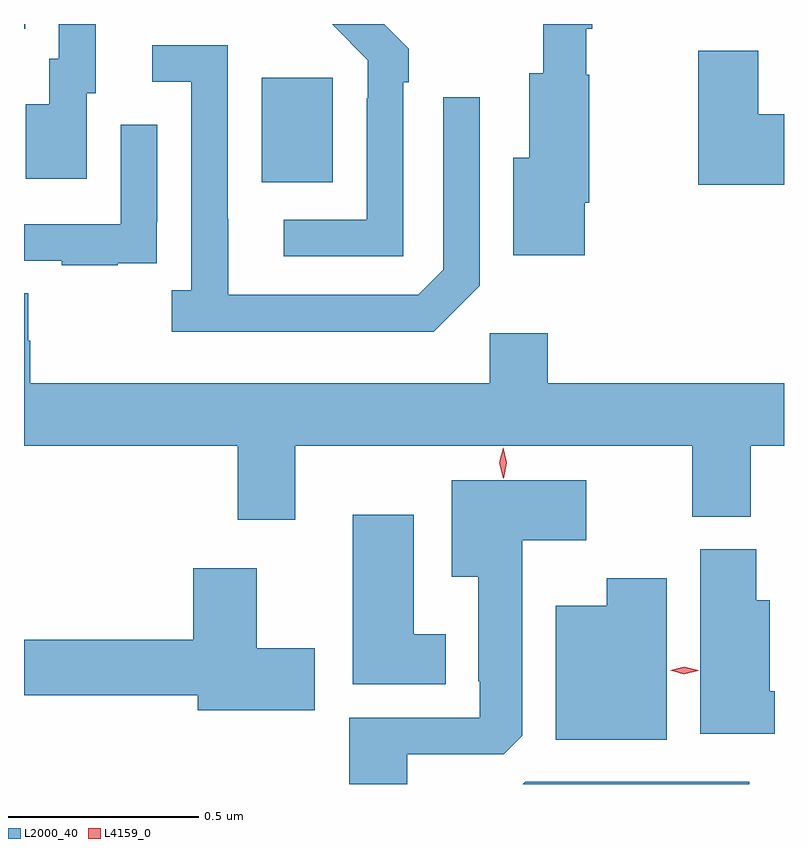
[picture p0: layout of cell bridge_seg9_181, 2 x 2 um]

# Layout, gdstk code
import gdstk
lib = gdstk.Library(unit=1e-6, precision=1e-09)
def R(c, l, rs):  # rectangles x0, y0, x1, y1
    for r in rs: c.add(gdstk.rectangle(r[:2], r[2:], *l))
def P(c, l, *ps):  # polygons
    for p in ps: c.add(gdstk.Polygon(p, *l))
L2000_40 = (2000, 40)
L4159_0 = (4159, 0)

bridge_seg9_181 = lib.new_cell('bridge_seg9_181')
R(bridge_seg9_181, L2000_40, [(149.321,1245.065,149.509,1245.34), (148.696,1245.469,148.699,1245.482)])
P(bridge_seg9_181, L2000_40, [(150.172,1245.012),(150.184,1245.012),(150.184,1245.348),(150.176,1245.348),(150.176,1245.47),(150.191,1245.47),(150.191,1245.482),(150.063,1245.482),(150.063,1245.352),(150.026,1245.352),(150.026,1245.13),(149.984,1245.13),(149.984,1244.873),(150.172,1244.873)],
  [(148.861,1245.3),(148.885,1245.3),(148.885,1245.482),(148.788,1245.482),(148.788,1245.39),(148.763,1245.39),(148.763,1245.271),(148.7,1245.271),(148.7,1245.075),(148.861,1245.075)],
  [(149.694,1245.329),(149.709,1245.329),(149.709,1245.417),(149.644,1245.482),(149.507,1245.482),(149.601,1245.387),(149.601,1245.287),(149.598,1245.287),(149.598,1244.967),(149.379,1244.967),(149.379,1244.871),(149.694,1244.871)],
  [(149.895,1244.793),(149.895,1245.289),(149.799,1245.289),(149.799,1244.835),(149.733,1244.769),(149.233,1244.769),(149.233,1244.969),(149.232,1244.969),(149.232,1245.426),(149.034,1245.426),(149.034,1245.33),(149.136,1245.33),(149.136,1244.782),(149.085,1244.782),(149.085,1244.672),(149.774,1244.672)],
  [(150.696,1245.244),(150.628,1245.244),(150.628,1245.412),(150.47,1245.412),(150.47,1245.059),(150.696,1245.059)],
  [(148.943,1244.853),(149.045,1244.853),(149.045,1244.962),(149.046,1244.962),(149.046,1245.217),(148.95,1245.217),(148.95,1244.955),(148.696,1244.955),(148.696,1244.859),(148.795,1244.859),(148.795,1244.847),(148.943,1244.847)],
  [(149.41,1244.372),(150.455,1244.372),(150.455,1244.185),(150.608,1244.185),(150.608,1244.372),(150.696,1244.372),(150.696,1244.536),(150.074,1244.536),(150.074,1244.668),(149.922,1244.668),(149.922,1244.536),(148.712,1244.536),(148.712,1244.649),(148.707,1244.649),(148.707,1244.774),(148.696,1244.774),(148.696,1244.372),(149.258,1244.372),(149.258,1244.178),(149.41,1244.178)],
  [(149.704,1243.56),(149.958,1243.56),(150.007,1243.609),(150.007,1244.123),(150.175,1244.123),(150.175,1244.281),(149.822,1244.281),(149.822,1244.027),(149.891,1244.027),(149.891,1243.753),(149.895,1243.753),(149.895,1243.656),(149.552,1243.656),(149.552,1243.482),(149.704,1243.482)],
  [(149.806,1243.876),(149.722,1243.876),(149.722,1244.191),(149.561,1244.191),(149.561,1243.745),(149.806,1243.745)],
  [(150.671,1243.726),(150.658,1243.726),(150.658,1243.966),(150.623,1243.966),(150.623,1244.1),(150.476,1244.1),(150.476,1243.614),(150.671,1243.614)],
  [(149.461,1243.839),(149.308,1243.839),(149.308,1244.05),(149.141,1244.05),(149.141,1243.862),(148.696,1243.862),(148.696,1243.715),(149.153,1243.715),(149.153,1243.676),(149.461,1243.676)],
  [(150.388,1244.023),(150.23,1244.023),(150.23,1243.951),(150.095,1243.951),(150.095,1243.598),(150.388,1243.598)],
  [(150.604,1243.488),(150.015,1243.488),(150.009,1243.482),(150.604,1243.482)])
P(bridge_seg9_181, L4159_0, [(150.432,1243.771),(150.396,1243.781),(150.395,1243.782),(150.396,1243.782),(150.433,1243.791),(150.47,1243.781),(150.47,1243.78),(150.47,1243.78)],
  [(149.957,1244.286),(149.957,1244.286),(149.947,1244.327),(149.957,1244.367),(149.957,1244.367),(149.957,1244.367),(149.967,1244.327),(149.958,1244.286)])

lib.write_gds('bridge_seg9_181.gds')
